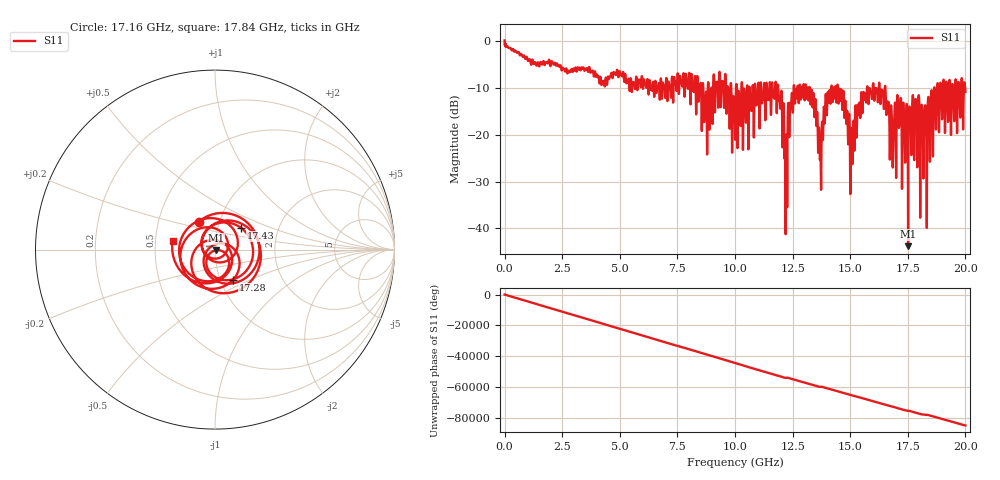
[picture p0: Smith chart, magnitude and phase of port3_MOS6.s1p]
! MS46122B
! 2250307/22442219
! 6/15/2025 11:02:28 AM
! C:\USERS\SPARKY\DOCUMENTS\VNA_DATA\JUNE15_2025\295K\PORT3_MOS6.S1P
! CHANNEL.1
! TR.MEASUREMENT
! RAW.DATA
# GHZ S RI R 50.0
! FREQ.GHZ  S11RE  S11IM
!; PortSelection: Port_1
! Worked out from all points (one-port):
!   10001 points, 1 MHz to 20 GHz, reference 50 ohm
!   lowest |S11| = -43.8 dB at 17.51 GHz (marker M1), VSWR 1.01, Z = 50.5 - j0.382 ohm
!   |S11| at or under -10 dB: 13.24 GHz to 14.18 GHz (935.8 MHz wide, 6.82 % of centre); 14.46 GHz to 15.73 GHz (1.266 GHz wide, 8.38 % of centre); 16.53 GHz to 18.64 GHz (2.115 GHz wide, 12 % of centre) (the widest 3 of 81)
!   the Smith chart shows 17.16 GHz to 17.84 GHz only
!   S11 on the Smith chart (normalised r, x): 17.16 GHz: 0.80, +0.26; 17.28 GHz: 1.15, -0.40; 17.43 GHz: 1.30, +0.32; 17.84 GHz: 0.62, +0.06
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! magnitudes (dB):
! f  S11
! 1 MHz  0.2
! 2.501 GHz  -5.9
! 5.001 GHz  -6.4
! 7.501 GHz  -7.3
! 8.723 GHz  -12.0
! 9.399 GHz  -11.1
! 10 GHz  -19.2
! 11.69 GHz  -11.3
! 11.94 GHz  -12.3
! 12.21 GHz  -30.2
! 12.5 GHz  -14.2
! 13.32 GHz  -10.3
! 13.69 GHz  -25.2
! 14.02 GHz  -11.1
! 14.53 GHz  -10.2
! 15 GHz  -30.0
! 15.92 GHz  -11.2
! 16.45 GHz  -12.9
! 16.8 GHz  -15.5
! 17.16 GHz  -14.9
! 17.28 GHz  -14.2
! 17.43 GHz  -14.4
! 17.5 GHz  -22.4
! 17.51 GHz  -43.8
! 17.84 GHz  -12.4
! 18.25 GHz  -13.7
! 18.85 GHz  -19.4
! 20 GHz  -10.8
